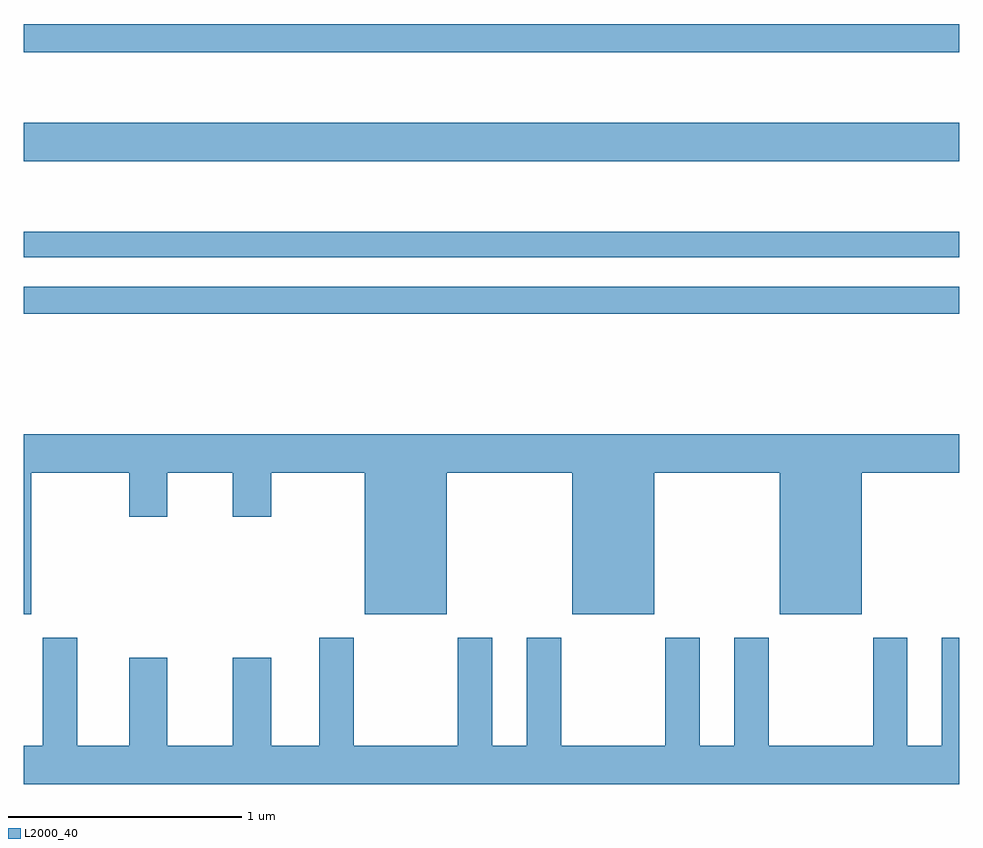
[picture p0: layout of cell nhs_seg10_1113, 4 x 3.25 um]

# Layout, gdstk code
import gdstk
lib = gdstk.Library(unit=1e-6, precision=1e-09)
def R(c, l, rs):  # rectangles x0, y0, x1, y1
    for r in rs: c.add(gdstk.rectangle(r[:2], r[2:], *l))
def P(c, l, *ps):  # polygons
    for p in ps: c.add(gdstk.Polygon(p, *l))
L2000_40 = (2000, 40)

nhs_seg10_1113 = lib.new_cell('nhs_seg10_1113')
R(nhs_seg10_1113, L2000_40, [(167,1328.968,171,1329.084), (167,1329.21,171,1329.319), (167,1329.62,171,1329.784), (167,1330.086,171,1330.207)])
P(nhs_seg10_1113, L2000_40, [(167.032,1328.288),(167.45,1328.288),(167.45,1328.1),(167.614,1328.1),(167.614,1328.288),(167.894,1328.288),(167.894,1328.1),(168.058,1328.1),(168.058,1328.288),(168.458,1328.288),(168.458,1327.682),(168.808,1327.682),(168.808,1328.288),(169.346,1328.288),(169.346,1327.682),(169.696,1327.682),(169.696,1328.288),(170.234,1328.288),(170.234,1327.682),(170.584,1327.682),(170.584,1328.288),(171,1328.288),(171,1328.452),(167,1328.452),(167,1327.682),(167.032,1327.682)],
  [(171,1327.582),(170.927,1327.582),(170.927,1327.12),(170.779,1327.12),(170.779,1327.582),(170.632,1327.582),(170.632,1327.12),(170.187,1327.12),(170.187,1327.582),(170.039,1327.582),(170.039,1327.12),(169.891,1327.12),(169.891,1327.582),(169.744,1327.582),(169.744,1327.12),(169.299,1327.12),(169.299,1327.582),(169.151,1327.582),(169.151,1327.12),(169.003,1327.12),(169.003,1327.582),(168.856,1327.582),(168.856,1327.12),(168.411,1327.12),(168.411,1327.582),(168.263,1327.582),(168.263,1327.12),(168.058,1327.12),(168.058,1327.495),(167.894,1327.495),(167.894,1327.12),(167.614,1327.12),(167.614,1327.495),(167.45,1327.495),(167.45,1327.12),(167.227,1327.12),(167.227,1327.582),(167.08,1327.582),(167.08,1327.12),(167,1327.12),(167,1326.956),(171,1326.956)])

lib.write_gds('nhs_seg10_1113.gds')
